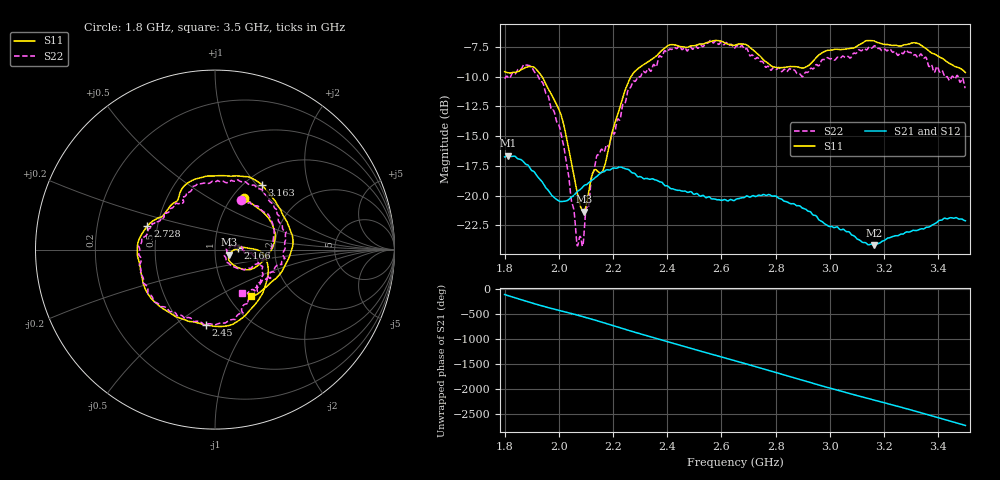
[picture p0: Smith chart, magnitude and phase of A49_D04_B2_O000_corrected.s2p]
! Created with skrf 1.9.0 (http://scikit-rf.org).
# Hz S RI R 50.0
!freq ReS11 ImS11 ReS21 ImS21 ReS12 ImS12 ReS22 ImS22
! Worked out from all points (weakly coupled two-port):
!   1601 points, 1.8 GHz to 3.5 GHz, reference 50 ohm
!   highest |S21| = -16.66 dB at 1.813 GHz (marker M1); lowest = -24.1 dB at 3.162 GHz (marker M2)
!   lowest |S11| = -21.3 dB at 2.092 GHz (marker M3), VSWR 1.19, Z = 58.7 - j3.4 ohm
!   |S11| at or under -10 dB: 1.938 GHz to 2.266 GHz (328.5 MHz wide, 15.6 % of centre)
!   |S22| runs from -24.2 to -7.0 dB; largest |S21 - S12| = 0.0024
!   S11 on the Smith chart (normalised r, x): 1.8 GHz: 1.14, +0.74; 2.166 GHz: 1.30, +0.02; 2.45 GHz: 0.64, -0.65; 2.728 GHz: 0.44, +0.14; 3.163 GHz: 1.18, +1.07; 3.5 GHz: 1.26, -0.74
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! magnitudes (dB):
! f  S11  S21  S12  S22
! 1.8 GHz  -9.6  -16.8  -16.8  -10.2
! 1.813 GHz  -9.7  -16.7  -16.7  -10.1
! 1.882 GHz  -9.2  -17.4  -17.4  -9.0
! 1.942 GHz  -10.2  -19.0  -19.0  -10.6
! 2.011 GHz  -13.5  -20.5  -20.5  -15.2
! 2.066 GHz  -19.5  -19.7  -19.7  -23.9
! 2.084 GHz  -21.1  -19.4  -19.3  -23.9
! 2.092 GHz  -21.3  -19.2  -19.2  -23.5
! 2.129 GHz  -17.9  -18.6  -18.6  -17.9
! 2.166 GHz  -17.7  -18.0  -18.0  -16.3
! 2.261 GHz  -10.2  -17.9  -17.9  -11.0
! 2.367 GHz  -8.1  -18.8  -18.7  -8.5
! 2.45 GHz  -7.5  -19.6  -19.6  -7.6
! 2.65 GHz  -7.4  -20.4  -20.3  -7.6
! 2.728 GHz  -8.0  -20.1  -20.1  -8.5
! 2.799 GHz  -9.2  -20.0  -20.0  -9.4
! 2.934 GHz  -8.8  -21.5  -21.5  -9.3
! 3.162 GHz  -7.0  -24.1  -24.1  -7.4
! 3.163 GHz  -7.0  -24.1  -24.1  -7.4
! 3.217 GHz  -7.3  -23.5  -23.5  -7.7
! 3.325 GHz  -7.2  -22.9  -22.9  -8.4
! 3.5 GHz  -9.7  -22.1  -22.1  -11.0
